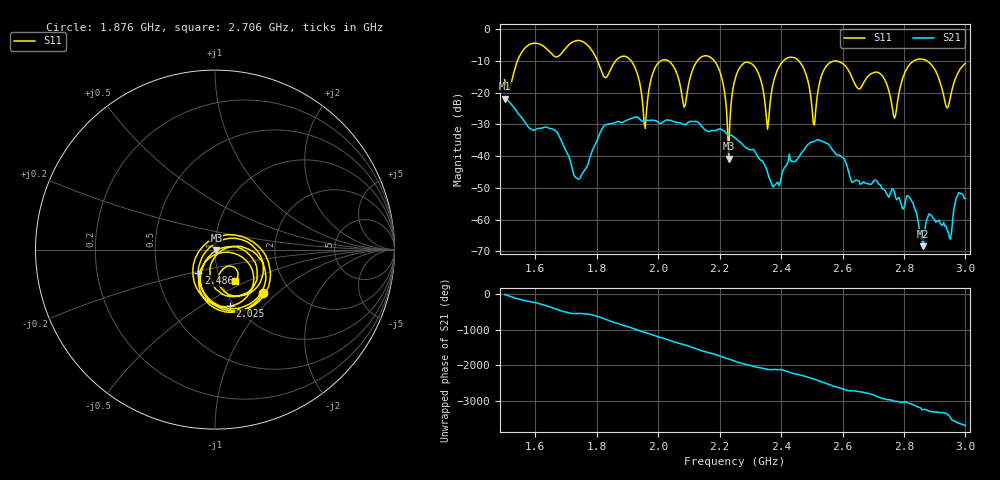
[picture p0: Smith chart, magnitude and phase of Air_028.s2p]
# HZ S RI R 50
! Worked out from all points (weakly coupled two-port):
!   404 points, 1.5 GHz to 3 GHz, reference 50 ohm
!   highest |S21| = -21.91 dB at 1.5 GHz (marker M1); lowest = -68.4 dB at 2.862 GHz (marker M2)
!   lowest |S11| = -40.8 dB at 2.23 GHz (marker M3), VSWR 1.02, Z = 50.8 - j0.42 ohm
!   |S11| at or under -10 dB: 2.182 GHz to 2.408 GHz (225.4 MHz wide, 9.82 % of centre); 2.457 GHz to 2.833 GHz (375.4 MHz wide, 14.2 % of centre); 2.874 GHz to end of sweep (the widest 3 of 7)
!   S12 and S22 are empty: the file has one direction only
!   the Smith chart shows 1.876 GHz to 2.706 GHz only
!   S11 on the Smith chart (normalised r, x): 1.876 GHz: 1.46, -0.81; 2.025 GHz: 0.95, -0.67; 2.486 GHz: 0.80, -0.21; 2.706 GHz: 1.16, -0.43
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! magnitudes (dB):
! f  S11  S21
! 1.5 GHz  -16.0  -21.9
! 1.753 GHz  -3.9  -45.5
! 1.876 GHz  -8.9  -29.3
! 1.958 GHz  -31.3  -28.7
! 2.002 GHz  -10.5  -29.6
! 2.025 GHz  -9.7  -28.7
! 2.084 GHz  -24.7  -30.1
! 2.177 GHz  -9.5  -31.9
! 2.23 GHz  -40.8  -33.3
! 2.252 GHz  -15.2  -34.4
! 2.311 GHz  -11.6  -38.1
! 2.356 GHz  -31.6  -45.2
! 2.375 GHz  -16.9  -49.8
! 2.486 GHz  -15.9  -36.5
! 2.501 GHz  -25.4  -35.6
! 2.561 GHz  -10.5  -37.1
! 2.706 GHz  -13.6  -47.5
! 2.751 GHz  -19.4  -53.0
! 2.769 GHz  -28.1  -51.4
! 2.862 GHz  -9.5  -68.4
! 2.94 GHz  -24.9  -63.2
! 3 GHz  -10.8  -53.3
